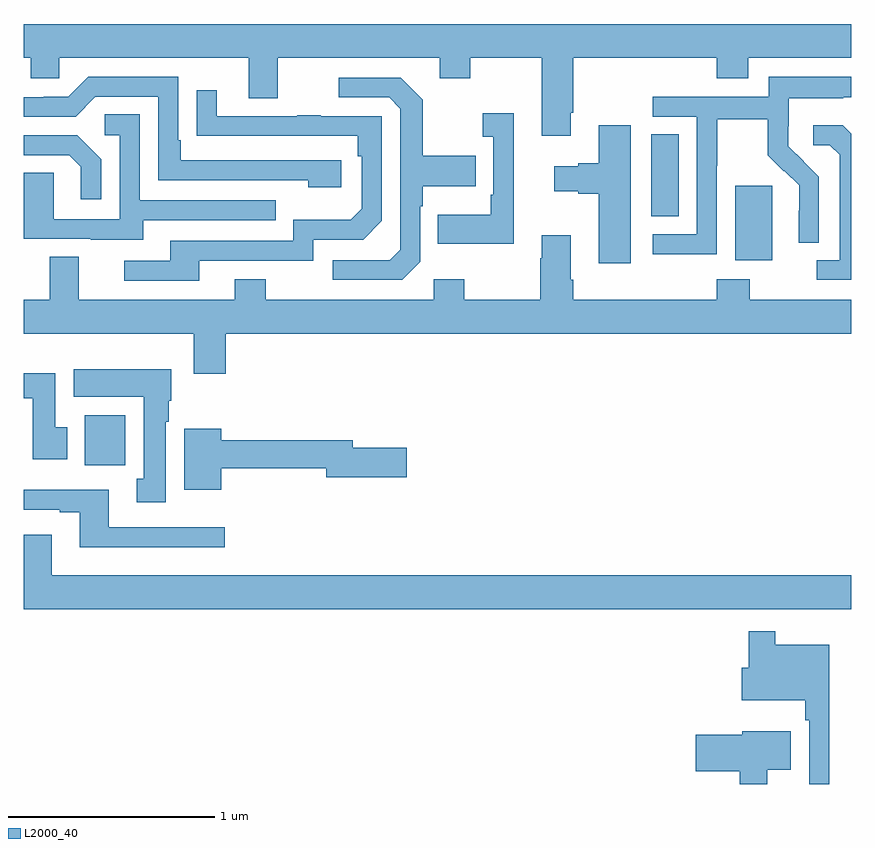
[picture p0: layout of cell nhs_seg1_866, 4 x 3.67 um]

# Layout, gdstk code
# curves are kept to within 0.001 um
import gdstk
lib = gdstk.Library(unit=1e-6, precision=1e-09)
def R(c, l, rs):  # rectangles x0, y0, x1, y1
    for r in rs: c.add(gdstk.rectangle(r[:2], r[2:], *l))
def P(c, l, *ps):  # polygons
    for p in ps: c.add(gdstk.Polygon(p, *l))
L2000_40 = (2000, 40)

nhs_seg1_866 = lib.new_cell('nhs_seg1_866')
R(nhs_seg1_866, L2000_40, [(157.295,573.74,157.492,573.982), (160.439,574.73,160.618,575.091), (160.034,574.942,160.165,575.339)])
P(nhs_seg1_866, L2000_40, [(159.643,575.443),(159.656,575.443),(159.656,575.708),(160.349,575.708),(160.349,575.609),(160.501,575.609),(160.501,575.708),(161,575.708),(161,575.872),(157,575.872),(157,575.708),(157.035,575.708),(157.035,575.61),(157.173,575.61),(157.173,575.708),(158.087,575.708),(158.087,575.514),(158.227,575.514),(158.227,575.708),(159.011,575.708),(159.011,575.609),(159.159,575.609),(159.159,575.708),(159.503,575.708),(159.503,575.331),(159.643,575.331)],
  [(160.35,575.188),(160.353,575.188),(160.353,575.412),(160.597,575.412),(160.597,575.237),(160.674,575.16),(160.677,575.163),(160.748,575.093),(160.748,574.97),(160.746,574.97),(160.746,574.816),(160.842,574.816),(160.842,575.134),(160.696,575.282),(160.696,575.379),(160.698,575.379),(160.698,575.513),(160.961,575.513),(160.961,575.517),(161,575.517),(161,575.617),(160.602,575.617),(160.602,575.52),(160.041,575.52),(160.041,575.424),(160.254,575.424),(160.254,574.857),(160.041,574.857),(160.041,574.759),(160.35,574.759)],
  [(158.536,575.214),(157.759,575.214),(157.759,575.311),(157.746,575.311),(157.746,575.616),(157.311,575.616),(157.215,575.52),(157.097,575.52),(157.097,575.517),(157,575.517),(157,575.424),(157.251,575.424),(157.347,575.52),(157.65,575.52),(157.65,575.118),(158.375,575.118),(158.375,575.084),(158.536,575.084)],
  [(158.916,574.722),(158.916,574.991),(158.929,574.991),(158.929,575.087),(159.185,575.087),(159.185,575.235),(158.929,575.235),(158.929,575.507),(158.823,575.613),(158.523,575.613),(158.523,575.517),(158.766,575.517),(158.82,575.463),(158.82,574.782),(158.769,574.731),(158.493,574.731),(158.493,574.635),(158.829,574.635)],
  [(157.849,574.728),(158.4,574.728),(158.4,574.83),(158.64,574.83),(158.73,574.92),(158.73,575.427),(158.435,575.427),(158.435,575.432),(158.323,575.432),(158.323,575.427),(157.933,575.427),(157.933,575.551),(157.837,575.551),(157.837,575.332),(158.614,575.331),(158.614,575.234),(158.634,575.234),(158.634,574.98),(158.581,574.927),(158.304,574.927),(158.304,574.824),(157.709,574.824),(157.709,574.728),(157.485,574.728),(157.485,574.632),(157.849,574.632)],
  [(159.368,575.44),(159.219,575.44),(159.219,575.327),(159.27,575.327),(159.27,575.047),(159.258,575.047),(159.258,574.951),(159.001,574.951),(159.001,574.811),(159.368,574.811)],
  [(157.579,574.923),(158.219,574.923),(158.219,575.019),(157.56,575.019),(157.56,575.435),(157.392,575.435),(157.392,575.334),(157.464,575.334),(157.464,574.929),(157.146,574.929),(157.146,575.153),(157.001,575.153),(157.001,574.833),(157.325,574.833),(157.325,574.829),(157.579,574.829)],
  [(159.934,575.383),(159.779,575.383),(159.779,575.198),(159.68,575.198),(159.68,575.185),(159.564,575.185),(159.564,575.063),(159.68,575.063),(159.68,575.051),(159.779,575.051),(159.779,574.716),(159.934,574.716)],
  [(161,575.341),(160.958,575.383),(160.815,575.383),(160.815,575.286),(160.896,575.286),(160.943,575.239),(160.943,574.731),(160.833,574.731),(160.833,574.635),(161,574.635)],
  [(157.374,575.218),(157.258,575.334),(157,575.334),(157,575.238),(157.22,575.238),(157.277,575.181),(157.277,575.025),(157.374,575.025)],
  [(157.976,574.376),(161,574.376),(161,574.54),(160.509,574.54),(160.509,574.639),(160.349,574.639),(160.349,574.54),(159.656,574.54),(159.656,574.636),(159.643,574.636),(159.643,574.852),(159.503,574.852),(159.503,574.739),(159.496,574.739),(159.496,574.54),(159.129,574.54),(159.129,574.639),(158.982,574.639),(158.982,574.54),(158.169,574.54),(158.169,574.639),(158.021,574.639),(158.021,574.54),(157.267,574.54),(157.267,574.748),(157.127,574.748),(157.127,574.54),(157,574.54),(157,574.376),(157.823,574.376),(157.823,574.182),(157.976,574.182)],
  [(157.687,573.95),(157.702,573.95),(157.702,574.05),(157.714,574.05),(157.714,574.204),(157.241,574.204),(157.241,574.07),(157.58,574.07),(157.58,573.674),(157.547,573.674),(157.547,573.561),(157.687,573.561)],
  [(157.21,573.924),(157.153,573.924),(157.153,574.183),(157,574.183),(157,574.064),(157.043,574.064),(157.043,573.768),(157.21,573.768)],
  [(157.954,573.724),(158.462,573.724),(158.462,573.682),(158.851,573.682),(158.851,573.824),(158.59,573.824),(158.59,573.86),(157.954,573.86),(157.954,573.916),(157.775,573.916),(157.775,573.62),(157.954,573.62)],
  [(157.972,573.441),(157.411,573.441),(157.411,573.622),(157,573.622),(157,573.525),(157.175,573.525),(157.175,573.513),(157.271,573.513),(157.271,573.344),(157.972,573.344)],
  [(161,573.208),(157.135,573.208),(157.135,573.403),(157,573.403),(157,573.044),(161,573.044)],
  [(160.894,572.872),(160.633,572.872),(160.633,572.938),(160.504,572.938),(160.504,572.761),(160.47,572.761),(160.47,572.603),(160.777,572.603),(160.777,572.507),(160.797,572.507),(160.797,572.199),(160.894,572.199)],
  [(160.594,572.267),(160.708,572.267),(160.708,572.455),(160.472,572.455),(160.472,572.438),(160.248,572.438),(160.248,572.26),(160.46,572.26),(160.46,572.199),(160.594,572.199)])

lib.write_gds('nhs_seg1_866.gds')
